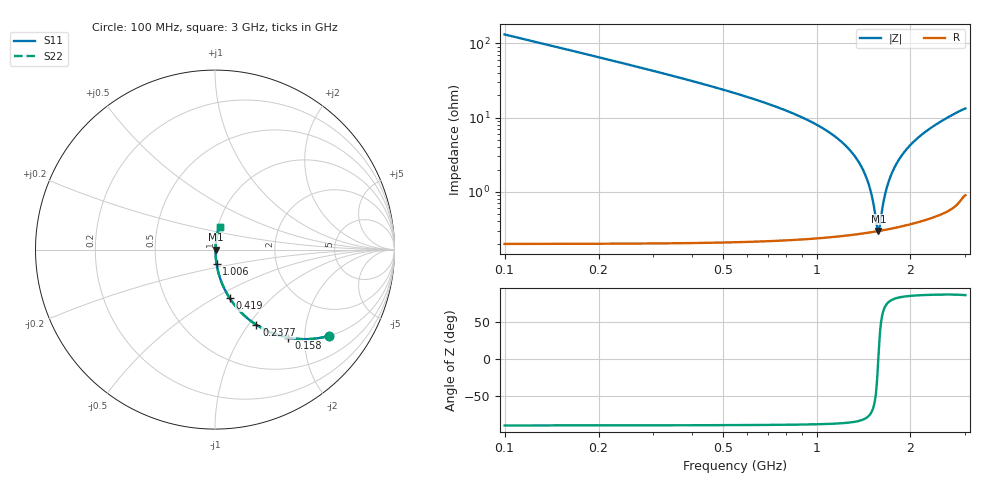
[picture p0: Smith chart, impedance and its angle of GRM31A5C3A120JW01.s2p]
!Murata Part Number: GRM31A5C3A120JW01
!These Parameters are Measured in Series Mode Connection
!Data Generated on Mar 30, 2021
!  o--ll--o
!Port1  Port2
!  o------o
!Operation Temp=25[degC], DC Bias Voltage=0[V]
!Freq. Start=100[MHz] Stop=3[GHz] 401[Steps]
# Hz S RI R 50
!Freq.(Hz) S11(Real) S11(Imag) S21(Real) S21(Imag) S12(Real) S12(Imag) S22(Real) S22(Imag)
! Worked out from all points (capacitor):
!   401 points, 100 MHz to 3 GHz, reference 50 ohm
!   read as one part in series: C = 12 pF near 114.5 MHz
!   lowest |Z| = 297 mohm at 1.579 GHz (marker M1)
!   series resonance near 1.578 GHz, so ESL is about 850 pH
!   S11 on the Smith chart (normalised r, x): 100 MHz: 1.00, -2.64; 158 MHz: 1.00, -1.66; 237.8 MHz: 1.00, -1.09; 419 MHz: 1.00, -0.59; 1.006 GHz: 1.00, -0.16; 3 GHz: 1.02, +0.27
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1e8  0.6356 -0.4805  0.3644 0.4805  0.3644 0.4805  0.6356 -0.4805
1.58e8  0.4089 -0.4904  0.5911 0.4904  0.5911 0.4904  0.4089 -0.4904
2.3775e8  0.2302 -0.4192  0.7698 0.4192  0.7698 0.4192  0.2302 -0.4192
4.19e8  0.0816 -0.2703  0.9184 0.2703  0.9184 0.2703  0.0816 -0.2703
5.8575e8  0.0389 -0.1882  0.9611 0.1882  0.9611 0.1882  0.0389 -0.1882
1.00625e9  0.00857 -0.0785  0.9914 0.0785  0.9914 0.0785  0.00857 -0.0785
1.0715e9  0.00696 -0.0672  0.993 0.0672  0.993 0.0672  0.00696 -0.0672
1.26725e9  0.00402 -0.0378  0.996 0.0378  0.996 0.0378  0.00402 -0.0378
1.39775e9  0.00317 -0.0209  0.9968 0.0209  0.9968 0.0209  0.00317 -0.0209
1.48475e9  0.00295 -0.0105  0.9971 0.0105  0.9971 0.0105  0.00295 -0.0105
1.521e9  0.00292 -0.00633  0.9971 0.00633  0.9971 0.00633  0.00292 -0.00633
1.55e9  0.00293 -0.00307  0.9971 0.00307  0.9971 0.00307  0.00293 -0.00307
1.5645e9  0.00294 -0.00145  0.9971 0.00145  0.9971 0.00145  0.00294 -0.00145
1.579e9  0.00296 0.000144  0.997 -0.000144  0.997 -0.000144  0.00296 0.000144
1.5935e9  0.00298 0.00173  0.997 -0.00173  0.997 -0.00173  0.00298 0.00173
1.65875e9  0.00315 0.00873  0.9969 -0.00873  0.9969 -0.00873  0.00315 0.00873
1.7385e9  0.00348 0.017  0.9965 -0.017  0.9965 -0.017  0.00348 0.017
1.86175e9  0.00425 0.0292  0.9957 -0.0292  0.9957 -0.0292  0.00425 0.0292
2.03575e9  0.00582 0.0457  0.9942 -0.0457  0.9942 -0.0457  0.00582 0.0457
2.246e9  0.00841 0.0647  0.9916 -0.0647  0.9916 -0.0647  0.00841 0.0647
2.5215e9  0.013 0.0888  0.987 -0.0888  0.987 -0.0888  0.013 0.0888
3e9  0.0258 0.1283  0.9742 -0.1283  0.9742 -0.1283  0.0258 0.1283
